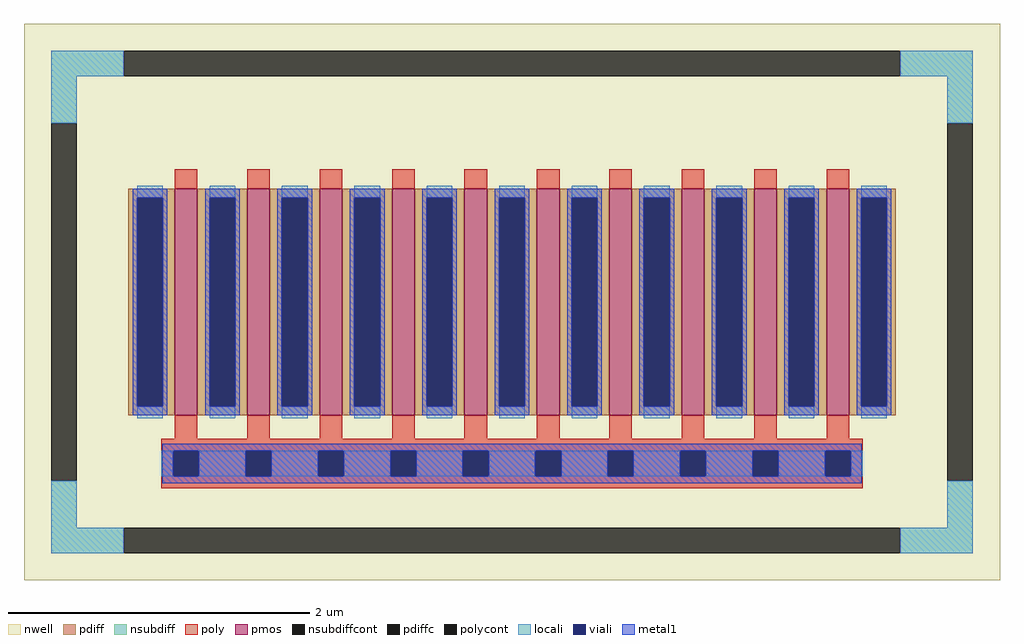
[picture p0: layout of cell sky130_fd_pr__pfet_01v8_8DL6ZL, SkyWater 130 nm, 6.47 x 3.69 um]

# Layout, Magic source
magic
tech sky130A
magscale 1 2
<< nwell >>
rect -647 -369 647 369
<< pmos >>
rect -447 -150 -417 150
rect -351 -150 -321 150
rect -255 -150 -225 150
rect -159 -150 -129 150
rect -63 -150 -33 150
rect 33 -150 63 150
rect 129 -150 159 150
rect 225 -150 255 150
rect 321 -150 351 150
rect 417 -150 447 150
<< pdiff >>
rect -509 138 -447 150
rect -509 -138 -497 138
rect -463 -138 -447 138
rect -509 -150 -447 -138
rect -417 138 -351 150
rect -417 -138 -401 138
rect -367 -138 -351 138
rect -417 -150 -351 -138
rect -321 138 -255 150
rect -321 -138 -305 138
rect -271 -138 -255 138
rect -321 -150 -255 -138
rect -225 138 -159 150
rect -225 -138 -209 138
rect -175 -138 -159 138
rect -225 -150 -159 -138
rect -129 138 -63 150
rect -129 -138 -113 138
rect -79 -138 -63 138
rect -129 -150 -63 -138
rect -33 138 33 150
rect -33 -138 -17 138
rect 17 -138 33 138
rect -33 -150 33 -138
rect 63 138 129 150
rect 63 -138 79 138
rect 113 -138 129 138
rect 63 -150 129 -138
rect 159 138 225 150
rect 159 -138 175 138
rect 209 -138 225 138
rect 159 -150 225 -138
rect 255 138 321 150
rect 255 -138 271 138
rect 305 -138 321 138
rect 255 -150 321 -138
rect 351 138 417 150
rect 351 -138 367 138
rect 401 -138 417 138
rect 351 -150 417 -138
rect 447 138 509 150
rect 447 -138 463 138
rect 497 -138 509 138
rect 447 -150 509 -138
<< pdiffc >>
rect -497 -138 -463 138
rect -401 -138 -367 138
rect -305 -138 -271 138
rect -209 -138 -175 138
rect -113 -138 -79 138
rect -17 -138 17 138
rect 79 -138 113 138
rect 175 -138 209 138
rect 271 -138 305 138
rect 367 -138 401 138
rect 463 -138 497 138
<< nsubdiff >>
rect -611 299 -515 333
rect 515 299 611 333
rect -611 237 -577 299
rect 577 237 611 299
rect -611 -299 -577 -237
rect 577 -299 611 -237
rect -611 -333 -515 -299
rect 515 -333 611 -299
<< nsubdiffcont >>
rect -515 299 515 333
rect -611 -237 -577 237
rect 577 -237 611 237
rect -515 -333 515 -299
<< poly >>
rect -447 150 -417 176
rect -351 150 -321 176
rect -255 150 -225 176
rect -159 150 -129 176
rect -63 150 -33 176
rect 33 150 63 176
rect 129 150 159 176
rect 225 150 255 176
rect 321 150 351 176
rect 417 150 447 176
rect -447 -181 -417 -150
rect -351 -181 -321 -150
rect -255 -181 -225 -150
rect -159 -181 -129 -150
rect -63 -181 -33 -150
rect 33 -181 63 -150
rect 129 -181 159 -150
rect 225 -181 255 -150
rect 321 -181 351 -150
rect 417 -181 447 -150
rect -465 -197 465 -181
rect -465 -231 -449 -197
rect -415 -231 -353 -197
rect -319 -231 -257 -197
rect -223 -231 -161 -197
rect -127 -231 -65 -197
rect -31 -231 31 -197
rect 65 -231 127 -197
rect 161 -231 223 -197
rect 257 -231 319 -197
rect 353 -231 415 -197
rect 449 -231 465 -197
rect -465 -247 465 -231
<< polycont >>
rect -449 -231 -415 -197
rect -353 -231 -319 -197
rect -257 -231 -223 -197
rect -161 -231 -127 -197
rect -65 -231 -31 -197
rect 31 -231 65 -197
rect 127 -231 161 -197
rect 223 -231 257 -197
rect 319 -231 353 -197
rect 415 -231 449 -197
<< locali >>
rect -611 299 -515 333
rect 515 299 611 333
rect -611 237 -577 299
rect 577 237 611 299
rect -497 138 -463 154
rect -497 -154 -463 -138
rect -401 138 -367 154
rect -401 -154 -367 -138
rect -305 138 -271 154
rect -305 -154 -271 -138
rect -209 138 -175 154
rect -209 -154 -175 -138
rect -113 138 -79 154
rect -113 -154 -79 -138
rect -17 138 17 154
rect -17 -154 17 -138
rect 79 138 113 154
rect 79 -154 113 -138
rect 175 138 209 154
rect 175 -154 209 -138
rect 271 138 305 154
rect 271 -154 305 -138
rect 367 138 401 154
rect 367 -154 401 -138
rect 463 138 497 154
rect 463 -154 497 -138
rect -465 -231 -449 -197
rect -415 -231 -353 -197
rect -319 -231 -257 -197
rect -223 -231 -161 -197
rect -127 -231 -65 -197
rect -31 -231 31 -197
rect 65 -231 127 -197
rect 161 -231 223 -197
rect 257 -231 319 -197
rect 353 -231 415 -197
rect 449 -231 465 -197
rect -611 -299 -577 -237
rect 577 -299 611 -237
rect -611 -333 -515 -299
rect 515 -333 611 -299
<< viali >>
rect -497 -138 -463 138
rect -401 -138 -367 138
rect -305 -138 -271 138
rect -209 -138 -175 138
rect -113 -138 -79 138
rect -17 -138 17 138
rect 79 -138 113 138
rect 175 -138 209 138
rect 271 -138 305 138
rect 367 -138 401 138
rect 463 -138 497 138
rect -449 -231 -415 -197
rect -353 -231 -319 -197
rect -257 -231 -223 -197
rect -161 -231 -127 -197
rect -65 -231 -31 -197
rect 31 -231 65 -197
rect 127 -231 161 -197
rect 223 -231 257 -197
rect 319 -231 353 -197
rect 415 -231 449 -197
<< metal1 >>
rect -503 138 -457 150
rect -503 -138 -497 138
rect -463 -138 -457 138
rect -503 -150 -457 -138
rect -407 138 -361 150
rect -407 -138 -401 138
rect -367 -138 -361 138
rect -407 -150 -361 -138
rect -311 138 -265 150
rect -311 -138 -305 138
rect -271 -138 -265 138
rect -311 -150 -265 -138
rect -215 138 -169 150
rect -215 -138 -209 138
rect -175 -138 -169 138
rect -215 -150 -169 -138
rect -119 138 -73 150
rect -119 -138 -113 138
rect -79 -138 -73 138
rect -119 -150 -73 -138
rect -23 138 23 150
rect -23 -138 -17 138
rect 17 -138 23 138
rect -23 -150 23 -138
rect 73 138 119 150
rect 73 -138 79 138
rect 113 -138 119 138
rect 73 -150 119 -138
rect 169 138 215 150
rect 169 -138 175 138
rect 209 -138 215 138
rect 169 -150 215 -138
rect 265 138 311 150
rect 265 -138 271 138
rect 305 -138 311 138
rect 265 -150 311 -138
rect 361 138 407 150
rect 361 -138 367 138
rect 401 -138 407 138
rect 361 -150 407 -138
rect 457 138 503 150
rect 457 -138 463 138
rect 497 -138 503 138
rect 457 -150 503 -138
rect -464 -197 464 -188
rect -464 -231 -449 -197
rect -415 -231 -353 -197
rect -319 -231 -257 -197
rect -223 -231 -161 -197
rect -127 -231 -65 -197
rect -31 -231 31 -197
rect 65 -231 127 -197
rect 161 -231 223 -197
rect 257 -231 319 -197
rect 353 -231 415 -197
rect 449 -231 464 -197
rect -464 -240 464 -231
<< properties >>
string gencell sky130_fd_pr__pfet_01v8
string FIXED_BBOX -594 -316 594 316
string parameters w 1.5 l 0.15 m 1 nf 10 diffcov 100 polycov 100 guard 1 glc 1 grc 1 gtc 1 gbc 1 tbcov 100 rlcov 100 topc 1 botc 1 poverlap 0 doverlap 1 lmin 0.15 wmin 0.42 compatible {sky130_fd_pr__pfet_01v8  sky130_fd_pr__pfet_01v8_lvt sky130_fd_pr__pfet_01v8_hvt  sky130_fd_pr__pfet_g5v0d10v5} full_metal 1 viasrc 100 viadrn 100 viagate 100 viagb 0 viagr 0 viagl 0 viagt 0
string library sky130
<< end >>
